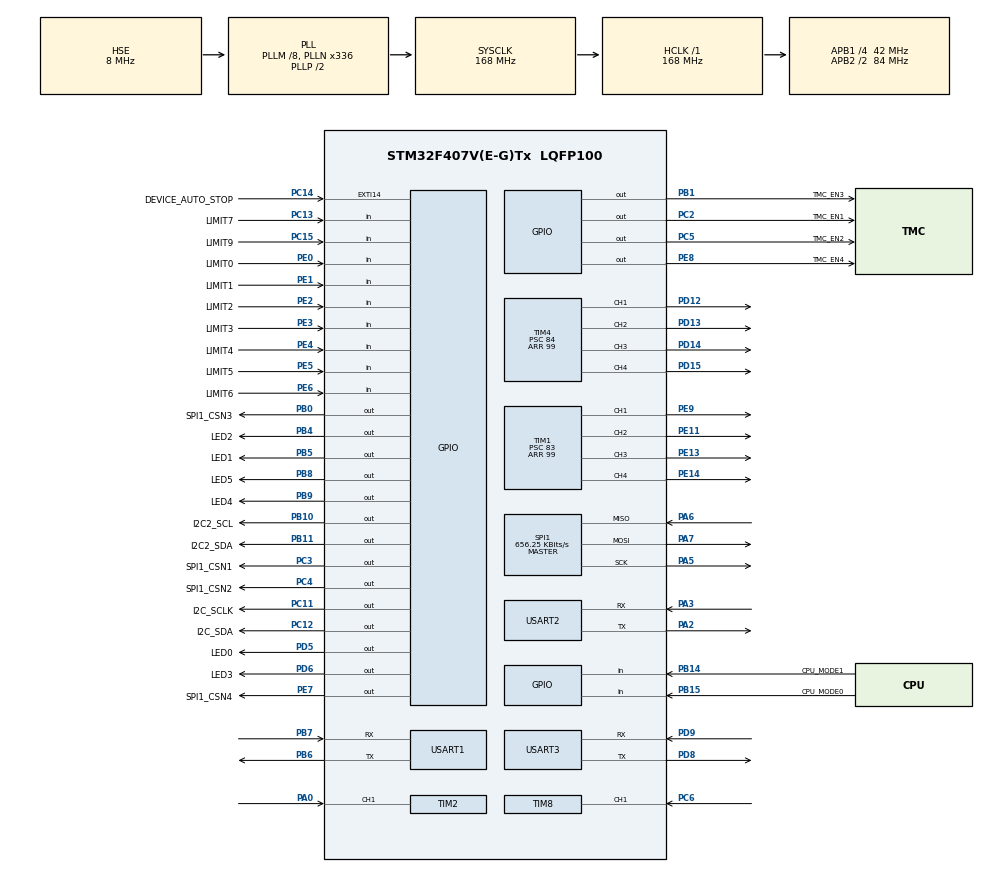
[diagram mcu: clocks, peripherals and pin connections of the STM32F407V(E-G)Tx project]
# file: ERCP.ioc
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Dma.Request0=USART1_RX
Dma.Request1=USART1_TX
Dma.Request2=USART3_RX
Dma.Request3=USART3_TX
Dma.Request4=USART2_RX
Dma.Request5=USART2_TX
Dma.USART1_RX.0.Direction=DMA_PERIPH_TO_MEMORY
Dma.USART1_RX.0.FIFOMode=DMA_FIFOMODE_DISABLE
Dma.USART1_RX.0.Instance=DMA2_Stream2
Dma.USART1_RX.0.MemDataAlignment=DMA_MDATAALIGN_BYTE
Dma.USART1_RX.0.MemInc=DMA_MINC_ENABLE
Dma.USART1_RX.0.Mode=DMA_CIRCULAR
Dma.USART1_RX.0.PeriphDataAlignment=DMA_PDATAALIGN_BYTE
Dma.USART1_RX.0.PeriphInc=DMA_PINC_DISABLE
Dma.USART1_RX.0.Priority=DMA_PRIORITY_LOW
Dma.USART1_TX.1.Direction=DMA_MEMORY_TO_PERIPH
Dma.USART1_TX.1.FIFOMode=DMA_FIFOMODE_DISABLE
Dma.USART1_TX.1.Instance=DMA2_Stream7
Dma.USART1_TX.1.MemDataAlignment=DMA_MDATAALIGN_BYTE
Dma.USART1_TX.1.MemInc=DMA_MINC_ENABLE
Dma.USART1_TX.1.Mode=DMA_NORMAL
Dma.USART1_TX.1.PeriphDataAlignment=DMA_PDATAALIGN_BYTE
Dma.USART1_TX.1.PeriphInc=DMA_PINC_DISABLE
Dma.USART1_TX.1.Priority=DMA_PRIORITY_LOW
Dma.USART2_RX.4.Direction=DMA_PERIPH_TO_MEMORY
Dma.USART2_RX.4.FIFOMode=DMA_FIFOMODE_DISABLE
Dma.USART2_RX.4.Instance=DMA1_Stream5
Dma.USART2_RX.4.MemDataAlignment=DMA_MDATAALIGN_BYTE
Dma.USART2_RX.4.MemInc=DMA_MINC_ENABLE
Dma.USART2_RX.4.Mode=DMA_NORMAL
Dma.USART2_RX.4.PeriphDataAlignment=DMA_PDATAALIGN_BYTE
Dma.USART2_RX.4.PeriphInc=DMA_PINC_DISABLE
Dma.USART2_RX.4.Priority=DMA_PRIORITY_HIGH
Dma.USART2_TX.5.Direction=DMA_MEMORY_TO_PERIPH
Dma.USART2_TX.5.FIFOMode=DMA_FIFOMODE_DISABLE
Dma.USART2_TX.5.Instance=DMA1_Stream6
Dma.USART2_TX.5.MemDataAlignment=DMA_MDATAALIGN_BYTE
Dma.USART2_TX.5.MemInc=DMA_MINC_ENABLE
Dma.USART2_TX.5.Mode=DMA_NORMAL
Dma.USART2_TX.5.PeriphDataAlignment=DMA_PDATAALIGN_BYTE
Dma.USART2_TX.5.PeriphInc=DMA_PINC_DISABLE
Dma.USART2_TX.5.Priority=DMA_PRIORITY_HIGH
Dma.USART3_RX.2.Direction=DMA_PERIPH_TO_MEMORY
Dma.USART3_RX.2.FIFOMode=DMA_FIFOMODE_DISABLE
Dma.USART3_RX.2.Instance=DMA1_Stream1
Dma.USART3_RX.2.MemDataAlignment=DMA_MDATAALIGN_BYTE
Dma.USART3_RX.2.MemInc=DMA_MINC_ENABLE
Dma.USART3_RX.2.Mode=DMA_CIRCULAR
Dma.USART3_RX.2.PeriphDataAlignment=DMA_PDATAALIGN_BYTE
Dma.USART3_RX.2.PeriphInc=DMA_PINC_DISABLE
Dma.USART3_RX.2.Priority=DMA_PRIORITY_LOW
Dma.USART3_TX.3.Direction=DMA_MEMORY_TO_PERIPH
Dma.USART3_TX.3.FIFOMode=DMA_FIFOMODE_DISABLE
Dma.USART3_TX.3.Instance=DMA1_Stream3
Dma.USART3_TX.3.MemDataAlignment=DMA_MDATAALIGN_BYTE
Dma.USART3_TX.3.MemInc=DMA_MINC_ENABLE
Dma.USART3_TX.3.Mode=DMA_NORMAL
Dma.USART3_TX.3.PeriphDataAlignment=DMA_PDATAALIGN_BYTE
Dma.USART3_TX.3.PeriphInc=DMA_PINC_DISABLE
Dma.USART3_TX.3.Priority=DMA_PRIORITY_LOW
Mcu.Family=STM32F4
Mcu.Name=STM32F407V(E-G)Tx
Mcu.Package=LQFP100
NVIC.DMA1_Stream1_IRQn=true\:0\:0\:false\:false\:true\:false\:true\:true
NVIC.DMA1_Stream3_IRQn=true\:0\:0\:false\:false\:true\:false\:true\:true
NVIC.DMA1_Stream5_IRQn=true\:0\:0\:false\:false\:true\:false\:true\:true
NVIC.DMA1_Stream6_IRQn=true\:0\:0\:false\:false\:true\:false\:true\:true
NVIC.DMA2_Stream2_IRQn=true\:1\:0\:true\:false\:true\:false\:true\:true
NVIC.DMA2_Stream7_IRQn=true\:1\:0\:true\:false\:true\:false\:true\:true
NVIC.EXTI15_10_IRQn=true\:4\:0\:true\:false\:true\:true\:true\:true
NVIC.PriorityGroup=NVIC_PRIORITYGROUP_3
NVIC.TIM1_BRK_TIM9_IRQn=true\:4\:1\:true\:false\:true\:true\:true\:true
NVIC.TIM1_UP_TIM10_IRQn=true\:3\:1\:true\:false\:true\:true\:true\:true
NVIC.TIM6_DAC_IRQn=true\:4\:0\:true\:false\:true\:true\:true\:true
NVIC.USART1_IRQn=true\:1\:0\:true\:false\:true\:true\:true\:true
NVIC.USART2_IRQn=true\:1\:1\:true\:false\:true\:true\:true\:true
NVIC.USART3_IRQn=true\:3\:0\:true\:false\:true\:true\:true\:true
PA0-WKUP.Signal=S_TIM2_CH1_ETR
PA13.Mode=Serial_Wire
PA13.Signal=SYS_JTMS-SWDIO
PA14.Mode=Serial_Wire
PA14.Signal=SYS_JTCK-SWCLK
PA2.Mode=Asynchronous
PA2.Signal=USART2_TX
PA3.Mode=Asynchronous
PA3.Signal=USART2_RX
PA5.Mode=Full_Duplex_Master
PA5.Signal=SPI1_SCK
PA6.Mode=Full_Duplex_Master
PA6.Signal=SPI1_MISO
PA7.Mode=Full_Duplex_Master
PA7.Signal=SPI1_MOSI
PB0.GPIO_Label=SPI1_CSN3
PB0.Signal=GPIO_Output
PB1.GPIO_Label=TMC_EN3
PB1.Signal=GPIO_Output
PB10.GPIO_Label=I2C2_SCL
PB10.GPIO_PuPd=GPIO_PULLUP
PB10.GPIO_Speed=GPIO_SPEED_FREQ_VERY_HIGH
PB10.PinState=GPIO_PIN_SET
PB10.Signal=GPIO_Output
PB11.GPIO_Label=I2C2_SDA
PB11.GPIO_ModeDefaultOutputPP=GPIO_MODE_OUTPUT_OD
PB11.GPIO_PuPd=GPIO_PULLUP
PB11.GPIO_Speed=GPIO_SPEED_FREQ_VERY_HIGH
PB11.PinState=GPIO_PIN_SET
PB11.Signal=GPIO_Output
PB14.GPIO_Label=CPU_MODE1
PB14.Signal=GPIO_Input
PB15.GPIO_Label=CPU_MODE0
PB15.Signal=GPIO_Input
PB4.GPIO_Label=LED2
PB4.Signal=GPIO_Output
PB5.GPIO_Label=LED1
PB5.Signal=GPIO_Output
PB6.Mode=Asynchronous
PB6.Signal=USART1_TX
PB7.Mode=Asynchronous
PB7.Signal=USART1_RX
PB8.GPIO_Label=LED5
PB8.Signal=GPIO_Output
PB9.GPIO_Label=LED4
PB9.Signal=GPIO_Output
PC11.GPIO_Label=I2C_SCLK
PC11.Signal=GPIO_Output
PC12.GPIO_Label=I2C_SDA
PC12.Signal=GPIO_Output
PC13-ANTI_TAMP.GPIO_Label=LIMIT7
PC13-ANTI_TAMP.Signal=GPIO_Input
PC14-OSC32_IN.GPIO_Label=DEVICE_AUTO_STOP
PC14-OSC32_IN.GPIO_ModeDefaultEXTI=GPIO_MODE_IT_FALLING
PC14-OSC32_IN.GPIO_PuPd=GPIO_PULLUP
PC14-OSC32_IN.Signal=GPXTI14
PC15-OSC32_OUT.GPIO_Label=LIMIT9
PC15-OSC32_OUT.Signal=GPIO_Input
PC2.GPIO_Label=TMC_EN1
PC2.Signal=GPIO_Output
PC3.GPIO_Label=SPI1_CSN1
PC3.Signal=GPIO_Output
PC4.GPIO_Label=SPI1_CSN2
PC4.Signal=GPIO_Output
PC5.GPIO_Label=TMC_EN2
PC5.Signal=GPIO_Output
PC6.Signal=S_TIM8_CH1
PD12.Signal=S_TIM4_CH1
PD13.Signal=S_TIM4_CH2
PD14.Signal=S_TIM4_CH3
PD15.Signal=S_TIM4_CH4
PD5.GPIO_Label=LED0
PD5.Signal=GPIO_Output
PD6.GPIO_Label=LED3
PD6.Signal=GPIO_Output
PD8.Mode=Asynchronous
PD8.Signal=USART3_TX
PD9.Mode=Asynchronous
PD9.Signal=USART3_RX
PE0.GPIO_Label=LIMIT0
PE0.Signal=GPIO_Input
PE1.GPIO_Label=LIMIT1
PE1.Signal=GPIO_Input
PE11.Signal=S_TIM1_CH2
PE13.Signal=S_TIM1_CH3
PE14.Signal=S_TIM1_CH4
PE2.GPIO_Label=LIMIT2
PE2.Signal=GPIO_Input
PE3.GPIO_Label=LIMIT3
PE3.Signal=GPIO_Input
PE4.GPIO_Label=LIMIT4
PE4.Signal=GPIO_Input
PE5.GPIO_Label=LIMIT5
PE5.Signal=GPIO_Input
PE6.GPIO_Label=LIMIT6
PE6.Signal=GPIO_Input
PE7.GPIO_Label=SPI1_CSN4
PE7.Signal=GPIO_Output
PE8.GPIO_Label=TMC_EN4
PE8.Signal=GPIO_Output
PE9.Signal=S_TIM1_CH1
PH0-OSC_IN.Mode=HSE-External-Oscillator
PH0-OSC_IN.Signal=RCC_OSC_IN
PH1-OSC_OUT.Mode=HSE-External-Oscillator
PH1-OSC_OUT.Signal=RCC_OSC_OUT
ProjectManager.HeapSize=0x200
ProjectManager.StackSize=0x400
ProjectManager.TargetToolchain=MDK-ARM V5
RCC.48MHZClocksFreq_Value=84000000
RCC.AHBFreq_Value=168000000
RCC.APB1CLKDivider=RCC_HCLK_DIV4
RCC.APB1Freq_Value=42000000
RCC.APB1TimFreq_Value=84000000
RCC.APB2CLKDivider=RCC_HCLK_DIV2
RCC.APB2Freq_Value=84000000
RCC.APB2TimFreq_Value=168000000
RCC.CortexFreq_Value=21000000
RCC.Cortex_Div=SYSTICK_CLKSOURCE_HCLK_DIV8
RCC.HCLKFreq_Value=168000000
RCC.HSE_VALUE=8000000
RCC.HSI_VALUE=16000000
RCC.LSE_VALUE=32768
RCC.PLLM=8
RCC.PLLN=336
RCC.PLLSourceVirtual=RCC_PLLSOURCE_HSE
RCC.SYSCLKFreq_VALUE=168000000
RCC.SYSCLKSource=RCC_SYSCLKSOURCE_PLLCLK
RCC.VCOOutputFreq_Value=336000000
SH.S_TIM1_CH1.0=TIM1_CH1,PWM Generation1 CH1
SH.S_TIM1_CH2.0=TIM1_CH2,PWM Generation2 CH2
SH.S_TIM1_CH3.0=TIM1_CH3,PWM Generation3 CH3
SH.S_TIM1_CH4.0=TIM1_CH4,PWM Generation4 CH4
SH.S_TIM2_CH1_ETR.0=TIM2_CH1,TriggerSource_TI1FP1
SH.S_TIM2_CH1_ETR.1=TIM2_CH1,Input_Capture1_from_TI1
SH.S_TIM4_CH1.0=TIM4_CH1,PWM Generation1 CH1
SH.S_TIM4_CH2.0=TIM4_CH2,PWM Generation2 CH2
SH.S_TIM4_CH3.0=TIM4_CH3,PWM Generation3 CH3
SH.S_TIM4_CH4.0=TIM4_CH4,PWM Generation4 CH4
SH.S_TIM8_CH1.0=TIM8_CH1,TriggerSource_TI1FP1
SH.S_TIM8_CH1.1=TIM8_CH1,Input_Capture1_from_TI1
SPI1.BaudRatePrescaler=SPI_BAUDRATEPRESCALER_128
SPI1.CalculateBaudRate=656.25 KBits/s
SPI1.Direction=SPI_DIRECTION_2LINES
SPI1.Mode=SPI_MODE_MASTER
SPI1.VirtualType=VM_MASTER
TIM1.Channel-PWM\ Generation1\ CH1=TIM_CHANNEL_1
TIM1.Channel-PWM\ Generation2\ CH2=TIM_CHANNEL_2
TIM1.Channel-PWM\ Generation3\ CH3=TIM_CHANNEL_3
TIM1.Channel-PWM\ Generation4\ CH4=TIM_CHANNEL_4
TIM1.Period=99
TIM1.Prescaler=83
TIM10.Period=499
TIM10.Prescaler=8399
TIM2.Channel-Input_Capture1_from_TI1=TIM_CHANNEL_1
TIM2.Channel-Input_Capture2_from_TI1_63=TIM_CHANNEL_2
TIM4.Channel-PWM\ Generation1\ CH1=TIM_CHANNEL_1
TIM4.Channel-PWM\ Generation2\ CH2=TIM_CHANNEL_2
TIM4.Channel-PWM\ Generation3\ CH3=TIM_CHANNEL_3
TIM4.Channel-PWM\ Generation4\ CH4=TIM_CHANNEL_4
TIM4.Period=99
TIM4.Prescaler=84
TIM6.Period=49
TIM6.Prescaler=8399
TIM7.Prescaler=83
TIM8.Channel-Input_Capture1_from_TI1=TIM_CHANNEL_1
TIM8.Channel-Input_Capture2_from_TI1_63=TIM_CHANNEL_2
TIM9.Period=1199
TIM9.Prescaler=8399
USART1.VirtualMode=VM_ASYNC
USART2.VirtualMode=VM_ASYNC
USART3.VirtualMode=VM_ASYNC
VP_TIM10_VS_ClockSourceINT.Mode=Enable_Timer
VP_TIM1_VS_ClockSourceINT.Mode=Internal
VP_TIM2_VS_ClockSourceINT.Mode=Internal
VP_TIM2_VS_ControllerModeReset.Mode=Reset Mode
VP_TIM2_VS_indirect_ch1.Mode=Input_Capture2_from_TI1_63
VP_TIM3_VS_ClockSourceINT.Mode=Internal
VP_TIM4_VS_ClockSourceINT.Mode=Internal
VP_TIM6_VS_ClockSourceINT.Mode=Enable_Timer
VP_TIM7_VS_ClockSourceINT.Mode=Enable_Timer
VP_TIM8_VS_ClockSourceINT.Mode=Internal
VP_TIM8_VS_ControllerModeReset.Mode=Reset Mode
VP_TIM8_VS_indirect_ch1.Mode=Input_Capture2_from_TI1_63
VP_TIM9_VS_ClockSourceINT.Mode=Internal
board=custom

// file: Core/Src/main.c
/* USER CODE BEGIN Header */
/**
  ******************************************************************************
  * @file           : main.c
  * @brief          : Main program body
  ******************************************************************************
  * @attention
  *
  * <h2><center>&copy; Copyright (c) 2022 STMicroelectronics.
  * All rights reserved.</center></h2>
  *
  * This software component is licensed by ST under BSD 3-Clause license,
  * the "License"; You may not use this file except in compliance with the
  * License. You may obtain a copy of the License at:
  *                        opensource.org/licenses/BSD-3-Clause
  *
  ******************************************************************************
  */
/* USER CODE END Header */
#include "main.h"
#include "dma.h"
#include "spi.h"
#include "tim.h"
#include "usart.h"
#include "gpio.h"

/* USER CODE BEGIN Includes */
#include "bsp.h"
#include "tmc5160.h"
#include "bsp_key.h"
#include "pca9539.h"
#include "bsp_as5048b.h"
#include "bsp_led.h"
#include "bsp_dcmotor.h"
#include "bsp_pid.h"
#include "task.h"
#include "led_key_tasks.h"
#include "motor_tasks.h"
#include "myi2c.h"
#include "24cxx.h"
#include "XGZP6877D.h"
#include "status_monitor_tasks.h"
#include "communacation.h"
/* USER CODE END Includes */

void SystemClock_Config(void);

/* USER CODE BEGIN 0 */

uint8_t mcu_mode;
uint16_t sys_cnt_uart_motor;
uint16_t target;

/* USER CODE END 0 */

int main(void)
{

  /* MCU Configuration--------------------------------------------------------*/

  /* Reset of all peripherals, Initializes the Flash interface and the Systick. */
  HAL_Init();

  /* Configure the system clock */
  SystemClock_Config();

  /* Initialize all configured peripherals */
  MX_GPIO_Init();
  MX_DMA_Init();
  MX_SPI1_Init();
  MX_USART1_UART_Init();
  MX_USART3_UART_Init();
  MX_TIM1_Init();
  MX_TIM2_Init();
  MX_TIM3_Init();
  MX_TIM4_Init();
  MX_TIM8_Init();
  MX_TIM6_Init();
  MX_TIM7_Init();
  MX_TIM9_Init();
  MX_TIM10_Init();
  MX_USART2_UART_Init();
  /* USER CODE BEGIN 2 */
	at24cxx_init();
	PID_init();
//	xgzp6877d_init(&xgzp6877d_handle);
	XGZP6877D_Init();

	  vStartReceive();
//	__HAL_UART_ENABLE_IT(&huart1, UART_IT_IDLE); //使能IDLE中断
//	HAL_UART_Receive_DMA(&huart1,UART2_Rx_Buf,MAX_REC_LENGTH);

	__HAL_UART_ENABLE_IT(&huart2, UART_IT_IDLE); //使能IDLE中断
	HAL_UART_Receive_DMA(&huart2,UART2_Rx_Buf,MAX_REC_LENGTH);

	__HAL_UART_ENABLE_IT(&huart3, UART_IT_IDLE); //使能IDLE中断
	HAL_UART_Receive_DMA(&huart3,(uint8_t *)UART3_Rx_Buf,MAX_REC_LENGTH);

 ///get cpu mode///
	mcu_mode = Get_Mode();
//	HAL_GPIO_WritePin(GPIOB, RESET9539_Pin,GPIO_PIN_SET);
//	HAL_GPIO_WritePin(GPIOB, RESET_NEW_Pin,GPIO_PIN_SET);

 //*STEP MOTOR */

	Tmc5160Initial(&SPICS1);
	Tmc5160Initial(&SPICS2);
	Tmc5160Initial(&SPICS3);
	Tmc5160Initial(&SPICS4);
//	Tmc5160Initial(&SPICS5);

	Dis_All_Step_Driver();

/*DC motor*/

//	bsp_InitKey();

  /*uart motor */

	uart_step_inital();

/*I2C KEY AND LED*/

//	pca9555_init(&PCA9555_LED, &hi2c3, 0x74);
//	pca9555_init(&PCA9555_KEY, &hi2c3, 0x75);
	PCA9539_init();

  /*AS5048B*/
  as5048b_init(&as5048b00);
  as5048b_init(&as5048b01);
  as5048b_init(&as5048b10);
  as5048b_init(&as5048b11);

//	bsp_AS5048B_Init(&as5048b00, 0x40, &hi2c1);
//	bsp_AS5048B_Init(&as5048b01, 0x41, &hi2c1);
//	bsp_AS5048B_Init(&as5048b10, 0x42, &hi2c1);
//	bsp_AS5048B_Init(&as5048b11, 0x43, &hi2c1);

//	bsp_hsppadx4_Init(&hsppad147_handle, &hsppad147_config);

	HAL_TIM_Base_Start_IT(&htim6);
	HAL_TIM_Base_Start_IT(&htim7);
	HAL_TIM_Base_Start_IT(&htim9);
	HAL_TIM_Base_Start_IT(&htim10);

	PCA9539_DigitalRead(&PCA9555_KEY, 0, &bit_value);
	Update_Key_status(&PCA9555_KEY, &PCA9555_LED);
	pca9555_decode(&PCA9555_KEY);
	Update_I2CLed(&PCA9555_KEY, &PCA9555_LED);

  mode_select(INJECT);

  /* USER CODE END 2 */

  /* Infinite loop */
  /* USER CODE BEGIN WHILE */

	while (1)
	{
    /* 注射库控制时要屏蔽PCA9555_KEY相关 */
  #if INJECT
//		key_step_inject();
//		key_dc_inject();
		injection_control(&encoder_select);
//		xgzp6877d_init(&xgzp6877d_handle);
//
		Pressure_Temperature_Cal(&xgzp6877d_handle);
  #else
		Update_Motor_Status(&PCA9555_KEY, &gw_move,&device_move, &device_action, &device_and_gw_move);
		Change_Device(&SPICS3, &PCA9555_KEY);

  #endif

		if (1 == bsp_RunPer10ms_flag)
		{
		  bsp_RunPer10ms_flag = 0;
		  bsp_RunPer10ms();
		}

    if (bsp_RunPer50ms_flag == 1)
    {
      bsp_RunPer50ms_flag = 0;
		  bsp_RunPer50ms();
    }

		if (1 == bsp_RunPer100ms_flag)
		{
		  bsp_RunPer100ms_flag = 0;
		  bsp_RunPer100ms();
		}

    if (bsp_RunPer200ms_flag == 1)
		{
		  bsp_RunPer200ms_flag = 0;
		  bsp_RunPer200ms();
		}

		if (1 == bsp_RunPer500ms_flag)
		{
		  bsp_RunPer500ms_flag = 0;
		  bsp_RunPer500ms();
		}

		// if(UART1_Rx_flg==1)
		// {
		//   Check_RecData(UART1_Rx_Buf_reg,UART1_Rx_cnt);
		// }

    /* USER CODE END WHILE */

  }
}

void SystemClock_Config(void)
{
  RCC_OscInitTypeDef RCC_OscInitStruct = {0};
  RCC_ClkInitTypeDef RCC_ClkInitStruct = {0};

  /** Configure the main internal regulator output voltage
  */
  __HAL_RCC_PWR_CLK_ENABLE();
  __HAL_PWR_VOLTAGESCALING_CONFIG(PWR_REGULATOR_VOLTAGE_SCALE1);

  /** Initializes the RCC Oscillators according to the specified parameters
  * in the RCC_OscInitTypeDef structure.
  */
  RCC_OscInitStruct.OscillatorType = RCC_OSCILLATORTYPE_HSE;
  RCC_OscInitStruct.HSEState = RCC_HSE_ON;
  RCC_OscInitStruct.PLL.PLLState = RCC_PLL_ON;
  RCC_OscInitStruct.PLL.PLLSource = RCC_PLLSOURCE_HSE;
  RCC_OscInitStruct.PLL.PLLM = 8;
  RCC_OscInitStruct.PLL.PLLN = 336;
  RCC_OscInitStruct.PLL.PLLP = RCC_PLLP_DIV2;
  RCC_OscInitStruct.PLL.PLLQ = 4;
  if (HAL_RCC_OscConfig(&RCC_OscInitStruct) != HAL_OK)
  {
    Error_Handler();
  }

  /** Initializes the CPU, AHB and APB buses clocks
  */
  RCC_ClkInitStruct.ClockType = RCC_CLOCKTYPE_HCLK|RCC_CLOCKTYPE_SYSCLK
                              |RCC_CLOCKTYPE_PCLK1|RCC_CLOCKTYPE_PCLK2;
  RCC_ClkInitStruct.SYSCLKSource = RCC_SYSCLKSOURCE_PLLCLK;
  RCC_ClkInitStruct.AHBCLKDivider = RCC_SYSCLK_DIV1;
  RCC_ClkInitStruct.APB1CLKDivider = RCC_HCLK_DIV4;
  RCC_ClkInitStruct.APB2CLKDivider = RCC_HCLK_DIV2;

  if (HAL_RCC_ClockConfig(&RCC_ClkInitStruct, FLASH_LATENCY_5) != HAL_OK)
  {
    Error_Handler();
  }
}

void Error_Handler(void)
{
  __disable_irq();
  while (1)
  {
  }
}
